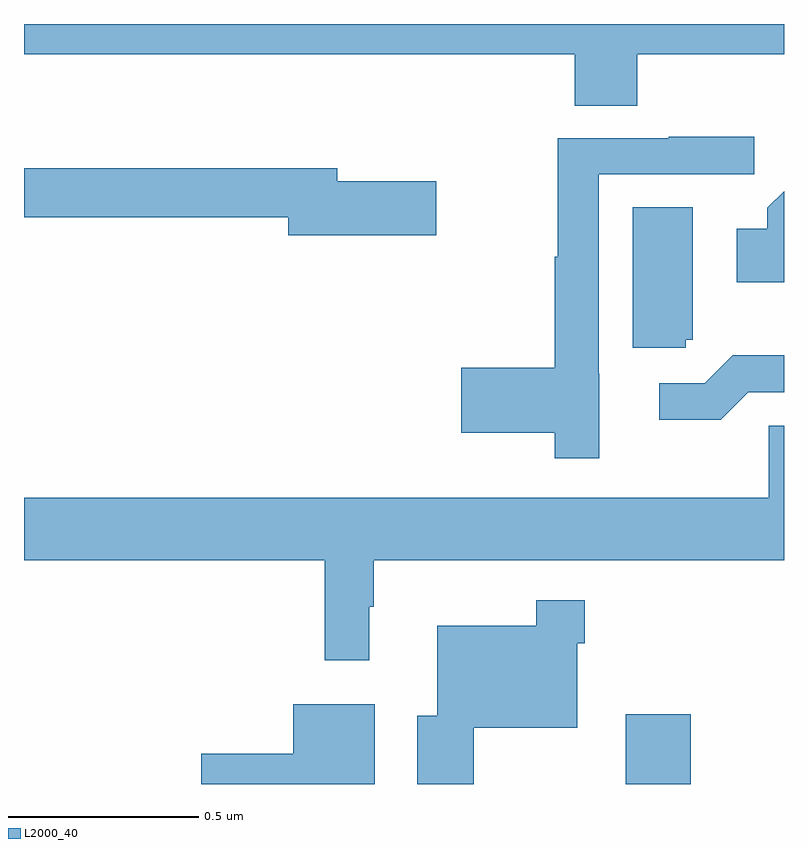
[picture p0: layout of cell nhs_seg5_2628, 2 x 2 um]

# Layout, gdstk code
import gdstk
lib = gdstk.Library(unit=1e-6, precision=1e-09)
def R(c, l, rs):  # rectangles x0, y0, x1, y1
    for r in rs: c.add(gdstk.rectangle(r[:2], r[2:], *l))
def P(c, l, *ps):  # polygons
    for p in ps: c.add(gdstk.Polygon(p, *l))
L2000_40 = (2000, 40)

nhs_seg5_2628 = lib.new_cell('nhs_seg5_2628')
R(nhs_seg5_2628, L2000_40, [(147.584,894.799,147.755,894.982)])
P(nhs_seg5_2628, L2000_40, [(147.614,896.72),(148,896.72),(148,896.799),(146,896.799),(146,896.72),(147.449,896.72),(147.449,896.584),(147.614,896.584)],
  [(147.514,895.878),(147.513,895.878),(147.513,896.403),(147.922,896.403),(147.922,896.502),(147.697,896.502),(147.697,896.499),(147.405,896.499),(147.405,896.187),(147.397,896.187),(147.397,895.895),(147.15,895.895),(147.15,895.724),(147.397,895.724),(147.397,895.656),(147.514,895.656)],
  [(147.085,896.385),(146.824,896.385),(146.824,896.419),(146,896.419),(146,896.29),(146.696,896.29),(146.696,896.243),(147.085,896.243)],
  [(148,896.359),(147.956,896.315),(147.956,896.26),(147.876,896.26),(147.876,896.12),(148,896.12)],
  [(147.741,895.968),(147.76,895.968),(147.76,896.317),(147.602,896.317),(147.602,895.947),(147.741,895.947)],
  [(147.906,895.83),(148,895.83),(148,895.927),(147.865,895.927),(147.792,895.854),(147.672,895.854),(147.672,895.757),(147.833,895.757)],
  [(146.908,895.265),(146.92,895.265),(146.92,895.388),(148,895.388),(148,895.742),(147.96,895.742),(147.96,895.552),(146,895.552),(146,895.388),(146.791,895.388),(146.791,895.125),(146.908,895.125)],
  [(147.183,894.947),(147.456,894.947),(147.456,895.169),(147.476,895.169),(147.476,895.282),(147.348,895.282),(147.348,895.216),(147.087,895.216),(147.087,894.979),(147.035,894.979),(147.035,894.799),(147.183,894.799)],
  [(146.923,895.009),(146.708,895.009),(146.708,894.878),(146.466,894.878),(146.466,894.799),(146.923,894.799)])

lib.write_gds('nhs_seg5_2628.gds')
